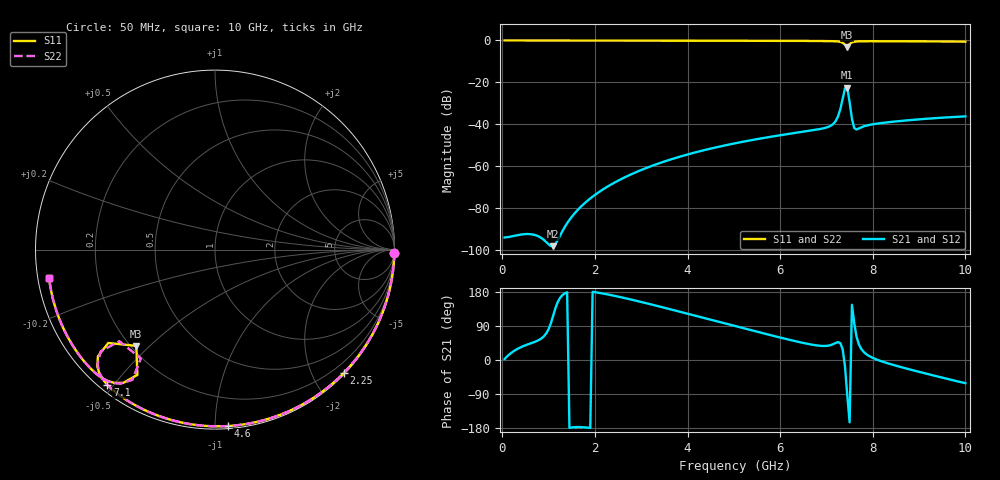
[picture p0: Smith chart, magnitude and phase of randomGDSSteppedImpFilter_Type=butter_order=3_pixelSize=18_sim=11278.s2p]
! freq	dB(S11)	phase(S11)	dB(S12)	phase(S12)
!  dB(S21)	phase(S21)	dB(S22)	phase(S22)
!S-par simulation data
#  GHz  S  DB  R 50
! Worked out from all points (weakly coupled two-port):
!   200 points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, 50 MHz to 10 GHz, reference 50 ohm
!   highest |S21| = -22.55 dB at 7.45 GHz (marker M1); lowest = -98.2 dB at 1.1 GHz (marker M2)
!   lowest |S11| = -3.2 dB at 7.45 GHz (marker M3), VSWR 5.51, Z = 11 - j22.8 ohm
!   |S11| at or under -10 dB: nowhere
!   |S22| runs from -2.7 to 0.0 dB; largest |S21 - S12| = 0
!   S11 on the Smith chart (normalised r, x): 50 MHz: open; 2.25 GHz: 0.02, -2.49; 4.6 GHz: 0.02, -1.08; 7.1 GHz: 0.02, -0.48; 10 GHz: 0.03, -0.08
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0.05  -0.01 -1.0  -94.04 2.5  -94.04 2.5  -0.00 -1.0
1.1  -0.03 -21.7  -98.18 117.4  -98.18 117.4  -0.03 -21.7
1.65  -0.04 -32.3  -80.39 -176.9  -80.39 -176.9  -0.04 -32.3
1.75  -0.04 -34.2  -78.23 -177.4  -78.23 -177.4  -0.04 -34.2
2.25  -0.06 -43.7  -70.04 173.6  -70.04 173.6  -0.06 -43.7
2.8  -0.07 -53.9  -63.72 159.0  -63.72 159.0  -0.07 -53.9
3.4  -0.09 -64.8  -58.52 141.0  -58.52 141.0  -0.09 -64.8
4.6  -0.12 -85.7  -51.10 102.9  -51.10 102.9  -0.12 -85.7
5.05  -0.14 -93.2  -48.98 88.7  -48.98 88.7  -0.14 -93.2
6.7  -0.24 -120.6  -42.87 40.2  -42.87 40.2  -0.25 -120.7
7.1  -0.33 -128.5  -40.62 39.7  -40.62 39.7  -0.34 -128.7
7.25  -0.50 -132.9  -36.21 47.2  -36.21 47.2  -0.55 -133.4
7.35  -1.08 -137.7  -27.88 28.2  -27.88 28.2  -1.38 -138.3
7.4  -2.05 -138.8  -22.91 -16.6  -22.91 -16.6  -2.64 -136.2
7.45  -3.19 -129.2  -22.55 -94.3  -22.55 -94.3  -2.69 -124.3
7.5  -1.71 -121.8  -29.53 -164.5  -29.53 -164.5  -1.32 -122.4
7.55  -0.90 -124.5  -37.38 145.6  -37.38 145.6  -0.76 -125.3
7.6  -0.62 -127.2  -41.86 96.9  -41.86 96.9  -0.56 -127.7
7.65  -0.50 -129.2  -42.48 61.0  -42.48 61.0  -0.47 -129.5
7.9  -0.37 -135.5  -40.43 12.1  -40.43 12.1  -0.37 -135.6
8.35  -0.38 -143.6  -38.99 -9.7  -38.99 -9.7  -0.38 -143.6
10  -0.56 -170.4  -36.24 -61.2  -36.24 -61.2  -0.56 -170.4
